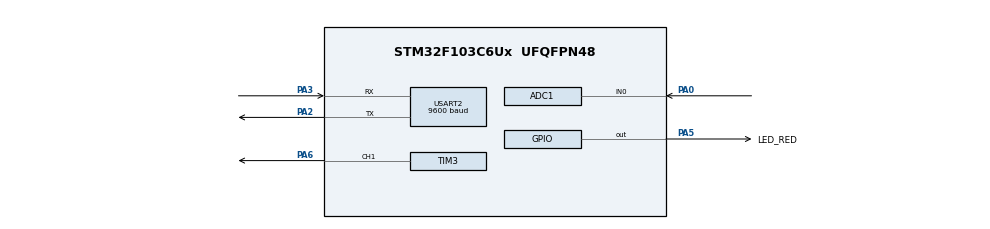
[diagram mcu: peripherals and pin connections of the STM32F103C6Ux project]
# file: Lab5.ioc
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ADC1.ContinuousConvMode=ENABLE
ADC1.NbrOfConversionFlag=1
ADC1.master=1
Mcu.Family=STM32F1
Mcu.Name=STM32F103C6Ux
Mcu.Package=UFQFPN48
NVIC.PriorityGroup=NVIC_PRIORITYGROUP_4
NVIC.TIM2_IRQn=true\:0\:0\:false\:false\:true\:true\:true
NVIC.USART2_IRQn=true\:0\:0\:false\:false\:true\:true\:true
PA0-WKUP.Signal=ADCx_IN0
PA2.Mode=Asynchronous
PA2.Signal=USART2_TX
PA3.Mode=Asynchronous
PA3.Signal=USART2_RX
PA5.GPIO_Label=LED_RED
PA5.Signal=GPIO_Output
PA6.Signal=S_TIM3_CH1
ProjectManager.HeapSize=0x200
ProjectManager.StackSize=0x400
ProjectManager.TargetToolchain=STM32CubeIDE
RCC.APB1Freq_Value=8000000
RCC.APB2Freq_Value=8000000
SH.ADCx_IN0.0=ADC1_IN0,IN0
SH.S_TIM3_CH1.0=TIM3_CH1,PWM Generation1 CH1
TIM2.Period=9
TIM2.Prescaler=7999
TIM3.Channel-PWM\ Generation1\ CH1=TIM_CHANNEL_1
TIM3.Period=999
TIM3.Prescaler=63
USART2.BaudRate=9600
USART2.VirtualMode=VM_ASYNC
VP_SYS_VS_ND.Mode=No_Debug
VP_TIM2_VS_ClockSourceINT.Mode=Internal
VP_TIM3_VS_ClockSourceINT.Mode=Internal
board=custom

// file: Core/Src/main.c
/* USER CODE BEGIN Header */
/**
  ******************************************************************************
  * @file           : main.c
  * @brief          : Main program body
  ******************************************************************************
  * @attention
  *
  * <h2><center>&copy; Copyright (c) 2022 STMicroelectronics.
  * All rights reserved.</center></h2>
  *
  * This software component is licensed by ST under BSD 3-Clause license,
  * the "License"; You may not use this file except in compliance with the
  * License. You may obtain a copy of the License at:
  *                        opensource.org/licenses/BSD-3-Clause
  *
  ******************************************************************************
  */
/* USER CODE END Header */
#include "main.h"

/* USER CODE BEGIN Includes */
#include <stdio.h>
#include "software_timer.h"
#include "fsm.h"
/* USER CODE END Includes */

ADC_HandleTypeDef hadc1;

TIM_HandleTypeDef htim2;
TIM_HandleTypeDef htim3;

UART_HandleTypeDef huart2;

void SystemClock_Config(void);
static void MX_GPIO_Init(void);
static void MX_ADC1_Init(void);
static void MX_USART2_UART_Init(void);
static void MX_TIM2_Init(void);
static void MX_TIM3_Init(void);

/* USER CODE BEGIN 0 */
void HAL_UART_RxCpltCallback(UART_HandleTypeDef *huart){
	if(huart->Instance == USART2){
		HAL_UART_Transmit(&huart2, &buffer_byte, 1, 500);
		buffer[index_buffer] = buffer_byte;
		index_buffer++;
		if (index_buffer == MAX_BUFFER_SIZE) index_buffer = 0;
		buffer_flag = 1;
		HAL_UART_Receive_IT(&huart2, &buffer_byte, 1);
	}
}
/* USER CODE END 0 */

int main(void)
{

  /* MCU Configuration--------------------------------------------------------*/

  /* Reset of all peripherals, Initializes the Flash interface and the Systick. */
  HAL_Init();

  /* Configure the system clock */
  SystemClock_Config();

  /* Initialize all configured peripherals */
  MX_GPIO_Init();
  MX_ADC1_Init();
  MX_USART2_UART_Init();
  MX_TIM3_Init();
  MX_TIM2_Init();
  /* USER CODE BEGIN 2 */
  HAL_ADC_Start(&hadc1);
  HAL_TIM_Base_Start_IT(&htim2);
  HAL_UART_Receive_IT(&huart2, &buffer_byte, 1);
  setTimer2(500);
  /* USER CODE END 2 */

  /* Infinite loop */
  /* USER CODE BEGIN WHILE */
  HAL_GPIO_WritePin(LED_RED_GPIO_Port, LED_RED_Pin, 1);
  while (1)
  {
	 if(buffer_flag == 1){
		 command_parser_fsm(&hadc1, &huart2);
		 buffer_flag = 0;
	 }
	 uart_communication_fsm(&hadc1, &huart2);
    /* USER CODE END WHILE */

  }
}

void SystemClock_Config(void)
{
  RCC_OscInitTypeDef RCC_OscInitStruct = {0};
  RCC_ClkInitTypeDef RCC_ClkInitStruct = {0};
  RCC_PeriphCLKInitTypeDef PeriphClkInit = {0};

  /** Initializes the RCC Oscillators according to the specified parameters
  * in the RCC_OscInitTypeDef structure.
  */
  RCC_OscInitStruct.OscillatorType = RCC_OSCILLATORTYPE_HSI;
  RCC_OscInitStruct.HSIState = RCC_HSI_ON;
  RCC_OscInitStruct.HSICalibrationValue = RCC_HSICALIBRATION_DEFAULT;
  RCC_OscInitStruct.PLL.PLLState = RCC_PLL_NONE;
  if (HAL_RCC_OscConfig(&RCC_OscInitStruct) != HAL_OK)
  {
    Error_Handler();
  }
  /** Initializes the CPU, AHB and APB buses clocks
  */
  RCC_ClkInitStruct.ClockType = RCC_CLOCKTYPE_HCLK|RCC_CLOCKTYPE_SYSCLK
                              |RCC_CLOCKTYPE_PCLK1|RCC_CLOCKTYPE_PCLK2;
  RCC_ClkInitStruct.SYSCLKSource = RCC_SYSCLKSOURCE_HSI;
  RCC_ClkInitStruct.AHBCLKDivider = RCC_SYSCLK_DIV1;
  RCC_ClkInitStruct.APB1CLKDivider = RCC_HCLK_DIV1;
  RCC_ClkInitStruct.APB2CLKDivider = RCC_HCLK_DIV1;

  if (HAL_RCC_ClockConfig(&RCC_ClkInitStruct, FLASH_LATENCY_0) != HAL_OK)
  {
    Error_Handler();
  }
  PeriphClkInit.PeriphClockSelection = RCC_PERIPHCLK_ADC;
  PeriphClkInit.AdcClockSelection = RCC_ADCPCLK2_DIV2;
  if (HAL_RCCEx_PeriphCLKConfig(&PeriphClkInit) != HAL_OK)
  {
    Error_Handler();
  }
}

static void MX_ADC1_Init(void)
{

  /** Common config
  */
  hadc1.Instance = ADC1;
  hadc1.Init.ScanConvMode = ADC_SCAN_DISABLE;
  hadc1.Init.ContinuousConvMode = ENABLE;
  hadc1.Init.DiscontinuousConvMode = DISABLE;
  hadc1.Init.ExternalTrigConv = ADC_SOFTWARE_START;
  hadc1.Init.DataAlign = ADC_DATAALIGN_RIGHT;
  hadc1.Init.NbrOfConversion = 1;
  if (HAL_ADC_Init(&hadc1) != HAL_OK)
  {
    Error_Handler();
  }

}

static void MX_TIM2_Init(void)
{

  TIM_ClockConfigTypeDef sClockSourceConfig = {0};
  TIM_MasterConfigTypeDef sMasterConfig = {0};

  htim2.Instance = TIM2;
  htim2.Init.Prescaler = 7999;
  htim2.Init.CounterMode = TIM_COUNTERMODE_UP;
  htim2.Init.Period = 9;
  htim2.Init.ClockDivision = TIM_CLOCKDIVISION_DIV1;
  htim2.Init.AutoReloadPreload = TIM_AUTORELOAD_PRELOAD_DISABLE;
  if (HAL_TIM_Base_Init(&htim2) != HAL_OK)
  {
    Error_Handler();
  }
  sClockSourceConfig.ClockSource = TIM_CLOCKSOURCE_INTERNAL;
  if (HAL_TIM_ConfigClockSource(&htim2, &sClockSourceConfig) != HAL_OK)
  {
    Error_Handler();
  }
  sMasterConfig.MasterOutputTrigger = TIM_TRGO_RESET;
  sMasterConfig.MasterSlaveMode = TIM_MASTERSLAVEMODE_DISABLE;
  if (HAL_TIMEx_MasterConfigSynchronization(&htim2, &sMasterConfig) != HAL_OK)
  {
    Error_Handler();
  }

}

static void MX_TIM3_Init(void)
{

  TIM_ClockConfigTypeDef sClockSourceConfig = {0};
  TIM_MasterConfigTypeDef sMasterConfig = {0};
  TIM_OC_InitTypeDef sConfigOC = {0};

  htim3.Instance = TIM3;
  htim3.Init.Prescaler = 63;
  htim3.Init.CounterMode = TIM_COUNTERMODE_UP;
  htim3.Init.Period = 999;
  htim3.Init.ClockDivision = TIM_CLOCKDIVISION_DIV1;
  htim3.Init.AutoReloadPreload = TIM_AUTORELOAD_PRELOAD_DISABLE;
  if (HAL_TIM_Base_Init(&htim3) != HAL_OK)
  {
    Error_Handler();
  }
  sClockSourceConfig.ClockSource = TIM_CLOCKSOURCE_INTERNAL;
  if (HAL_TIM_ConfigClockSource(&htim3, &sClockSourceConfig) != HAL_OK)
  {
    Error_Handler();
  }
  if (HAL_TIM_PWM_Init(&htim3) != HAL_OK)
  {
    Error_Handler();
  }
  sMasterConfig.MasterOutputTrigger = TIM_TRGO_RESET;
  sMasterConfig.MasterSlaveMode = TIM_MASTERSLAVEMODE_DISABLE;
  if (HAL_TIMEx_MasterConfigSynchronization(&htim3, &sMasterConfig) != HAL_OK)
  {
    Error_Handler();
  }
  sConfigOC.OCMode = TIM_OCMODE_PWM1;
  sConfigOC.Pulse = 0;
  sConfigOC.OCPolarity = TIM_OCPOLARITY_HIGH;
  sConfigOC.OCFastMode = TIM_OCFAST_DISABLE;
  if (HAL_TIM_PWM_ConfigChannel(&htim3, &sConfigOC, TIM_CHANNEL_1) != HAL_OK)
  {
    Error_Handler();
  }
  HAL_TIM_MspPostInit(&htim3);

}

static void MX_USART2_UART_Init(void)
{

  huart2.Instance = USART2;
  huart2.Init.BaudRate = 9600;
  huart2.Init.WordLength = UART_WORDLENGTH_8B;
  huart2.Init.StopBits = UART_STOPBITS_1;
  huart2.Init.Parity = UART_PARITY_NONE;
  huart2.Init.Mode = UART_MODE_TX_RX;
  huart2.Init.HwFlowCtl = UART_HWCONTROL_NONE;
  huart2.Init.OverSampling = UART_OVERSAMPLING_16;
  if (HAL_UART_Init(&huart2) != HAL_OK)
  {
    Error_Handler();
  }

}

static void MX_GPIO_Init(void)
{
  GPIO_InitTypeDef GPIO_InitStruct = {0};

  /* GPIO Ports Clock Enable */
  __HAL_RCC_GPIOA_CLK_ENABLE();

  /*Configure GPIO pin Output Level */
  HAL_GPIO_WritePin(LED_RED_GPIO_Port, LED_RED_Pin, GPIO_PIN_RESET);

  /*Configure GPIO pin : LED_RED_Pin */
  GPIO_InitStruct.Pin = LED_RED_Pin;
  GPIO_InitStruct.Mode = GPIO_MODE_OUTPUT_PP;
  GPIO_InitStruct.Pull = GPIO_NOPULL;
  GPIO_InitStruct.Speed = GPIO_SPEED_FREQ_LOW;
  HAL_GPIO_Init(LED_RED_GPIO_Port, &GPIO_InitStruct);

}

/* USER CODE BEGIN 4 */
void HAL_TIM_PeriodElapsedCallback(TIM_HandleTypeDef *htim2){
	timerRun();
}
/* USER CODE END 4 */

void Error_Handler(void)
{
  __disable_irq();
  while (1)
  {
  }
}

/************************ (C) COPYRIGHT STMicroelectronics *****END OF FILE****/
